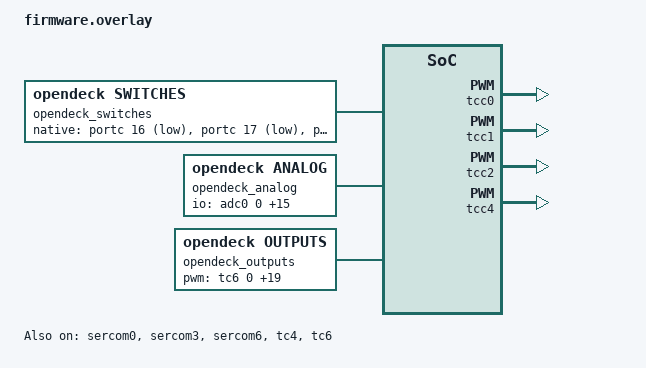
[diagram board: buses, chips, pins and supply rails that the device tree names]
/ {
    opendeck_metadata: opendeck-metadata {
        compatible = "opendeck,metadata";
        zephyr-board = "adafruit_grand_central_m4_express/samd51p20a";
        board-name = "Adafruit Grand Central M4";
    };

    opendeck_transports: opendeck-transports {
        compatible = "opendeck,transports";
        uart = <&opendeck_uart_din_midi>;
        usb;
    };

    opendeck_tests: opendeck-tests {
        compatible = "opendeck,tests";
        host;
    };

    opendeck_bulk_build: opendeck-bulk-build {
        compatible = "opendeck,bulk-build";
        app;
        lint;
    };

    opendeck_switches: opendeck-switches {
        compatible = "opendeck,switches";
        mode = "native";
        native-gpios =
            <&portc 16 (GPIO_PULL_UP | GPIO_ACTIVE_LOW)>,
            <&portc 17 (GPIO_PULL_UP | GPIO_ACTIVE_LOW)>,
            <&portc 20 (GPIO_PULL_UP | GPIO_ACTIVE_LOW)>,
            <&portc 21 (GPIO_PULL_UP | GPIO_ACTIVE_LOW)>,
            <&portd 20 (GPIO_PULL_UP | GPIO_ACTIVE_LOW)>,
            <&portd 21 (GPIO_PULL_UP | GPIO_ACTIVE_LOW)>,
            <&portb 18 (GPIO_PULL_UP | GPIO_ACTIVE_LOW)>,
            <&portb 22 (GPIO_PULL_UP | GPIO_ACTIVE_LOW)>,
            <&portb 0 (GPIO_PULL_UP | GPIO_ACTIVE_LOW)>,
            <&porta 17 (GPIO_PULL_UP | GPIO_ACTIVE_LOW)>,
            <&porta 18 (GPIO_PULL_UP | GPIO_ACTIVE_LOW)>,
            <&porta 19 (GPIO_PULL_UP | GPIO_ACTIVE_LOW)>,
            <&porta 22 (GPIO_PULL_UP | GPIO_ACTIVE_LOW)>,
            <&porta 23 (GPIO_PULL_UP | GPIO_ACTIVE_LOW)>,
            <&portc 4 (GPIO_PULL_UP | GPIO_ACTIVE_LOW)>,
            <&portc 5 (GPIO_PULL_UP | GPIO_ACTIVE_LOW)>,
            <&portc 6 (GPIO_PULL_UP | GPIO_ACTIVE_LOW)>,
            <&portc 7 (GPIO_PULL_UP | GPIO_ACTIVE_LOW)>,
            <&portc 10 (GPIO_PULL_UP | GPIO_ACTIVE_LOW)>,
            <&portc 11 (GPIO_PULL_UP | GPIO_ACTIVE_LOW)>;
    };

    opendeck_analog: opendeck-analog {
        compatible = "opendeck,analog";
        mode = "native";
        io-channels =
            <&adc0 0>,
            <&adc0 5>,
            <&adc0 15>,
            <&adc1 10>,
            <&adc1 11>,
            <&adc1 4>,
            <&adc1 5>,
            <&adc1 6>,
            <&adc1 7>,
            <&adc1 8>,
            <&adc1 9>,
            <&adc1 0>,
            <&adc1 1>,
            <&adc0 4>,
            <&adc0 6>,
            <&adc0 7>;
    };

    opendeck_outputs: opendeck-outputs {
        compatible = "opendeck,outputs";
        mode = "pwm";
        pwms =
            <&tc6 0 PWM_MSEC(1)>,
            <&tc6 1 PWM_MSEC(1)>,
            <&tcc0 6 PWM_MSEC(1)>,
            <&tcc0 7 PWM_MSEC(1)>,
            <&tc4 0 PWM_MSEC(1)>,
            <&tc4 1 PWM_MSEC(1)>,
            <&tcc0 5 PWM_MSEC(1)>,
            <&tcc2 1 PWM_MSEC(1)>,
            <&tcc0 2 PWM_MSEC(1)>,
            <&tcc0 3 PWM_MSEC(1)>,
            <&tcc1 2 PWM_MSEC(1)>,
            <&tcc1 3 PWM_MSEC(1)>,
            <&tcc2 0 PWM_MSEC(1)>,
            <&tcc1 1 PWM_MSEC(1)>,
            <&tcc2 2 PWM_MSEC(1)>,
            <&tcc0 4 PWM_MSEC(1)>,
            <&tcc0 0 PWM_MSEC(1)>,
            <&tcc0 1 PWM_MSEC(1)>,
            <&tcc4 0 PWM_MSEC(1)>,
            <&tcc4 1 PWM_MSEC(1)>;
    };

    opendeck_touchscreen: opendeck-touchscreen {
        compatible = "opendeck,touchscreen";
        component-count = <64>;
        uart = <&opendeck_uart_touchscreen>;
    };
    opendeck_i2c: opendeck-i2c {
        compatible = "opendeck,i2c";
        bus = <&opendeck_i2c_bus>;
    };
};

&pinctrl {
    opendeck_tcc0_default: opendeck-tcc0-default {
        group1 {
            pinmux = <PC22F_TCC0_WO6>,
                     <PC23F_TCC0_WO7>,
                     <PD12F_TCC0_WO5>,
                     <PC18F_TCC0_WO2>,
                     <PC19F_TCC0_WO3>,
                     <PA16G_TCC0_WO4>,
                     <PA20G_TCC0_WO0>,
                     <PA21G_TCC0_WO1>;
        };
    };

    opendeck_tcc1_default: opendeck-tcc1-default {
        group1 {
            pinmux = <PA12G_TCC1_WO2>,
                     <PA13G_TCC1_WO3>,
                     <PB19F_TCC1_WO1>;
        };
    };

    opendeck_tcc2_default: opendeck-tcc2-default {
        group1 {
            pinmux = <PA14F_TCC2_WO0>,
                     <PA15F_TCC2_WO1>,
                     <PB2F_TCC2_WO2>;
        };
    };

    opendeck_tcc4_default: opendeck-tcc4-default {
        group1 {
            pinmux = <PB14F_TCC4_WO0>,
                     <PB15F_TCC4_WO1>;
        };
    };

    opendeck_tc4_default: opendeck-tc4-default {
        group1 {
            pinmux = <PB12E_TC4_WO0>,
                     <PB13E_TC4_WO1>;
        };
    };

    opendeck_tc6_default: opendeck-tc6-default {
        group1 {
            pinmux = <PB16E_TC6_WO0>,
                     <PB17E_TC6_WO1>;
        };
    };
};

&sercom0 {
    status = "okay";
};

&sercom3 {
    status = "okay";
};

&sercom6 {
    status = "okay";
};

&tcc0 {
    compatible = "atmel,sam0-tcc-pwm";
    status = "okay";
    prescaler = <8>;
    #pwm-cells = <2>;
    pinctrl-0 = <&opendeck_tcc0_default>;
    pinctrl-names = "default";
};

&tcc1 {
    compatible = "atmel,sam0-tcc-pwm";
    status = "okay";
    prescaler = <8>;
    #pwm-cells = <2>;
    pinctrl-0 = <&opendeck_tcc1_default>;
    pinctrl-names = "default";
};

&tcc2 {
    compatible = "atmel,sam0-tcc-pwm";
    status = "okay";
    prescaler = <8>;
    #pwm-cells = <2>;
    pinctrl-0 = <&opendeck_tcc2_default>;
    pinctrl-names = "default";
};

&tcc4 {
    compatible = "atmel,sam0-tcc-pwm";
    status = "okay";
    prescaler = <8>;
    #pwm-cells = <2>;
    pinctrl-0 = <&opendeck_tcc4_default>;
    pinctrl-names = "default";
};

&tc4 {
    compatible = "atmel,sam0-tc-pwm";
    status = "okay";
    prescaler = <1024>;
    channels = <2>;
    counter-size = <8>;
    #pwm-cells = <2>;
    pinctrl-0 = <&opendeck_tc4_default>;
    pinctrl-names = "default";
};

&tc6 {
    compatible = "atmel,sam0-tc-pwm";
    status = "okay";
    prescaler = <1024>;
    channels = <2>;
    counter-size = <8>;
    #pwm-cells = <2>;
    pinctrl-0 = <&opendeck_tc6_default>;
    pinctrl-names = "default";
};
